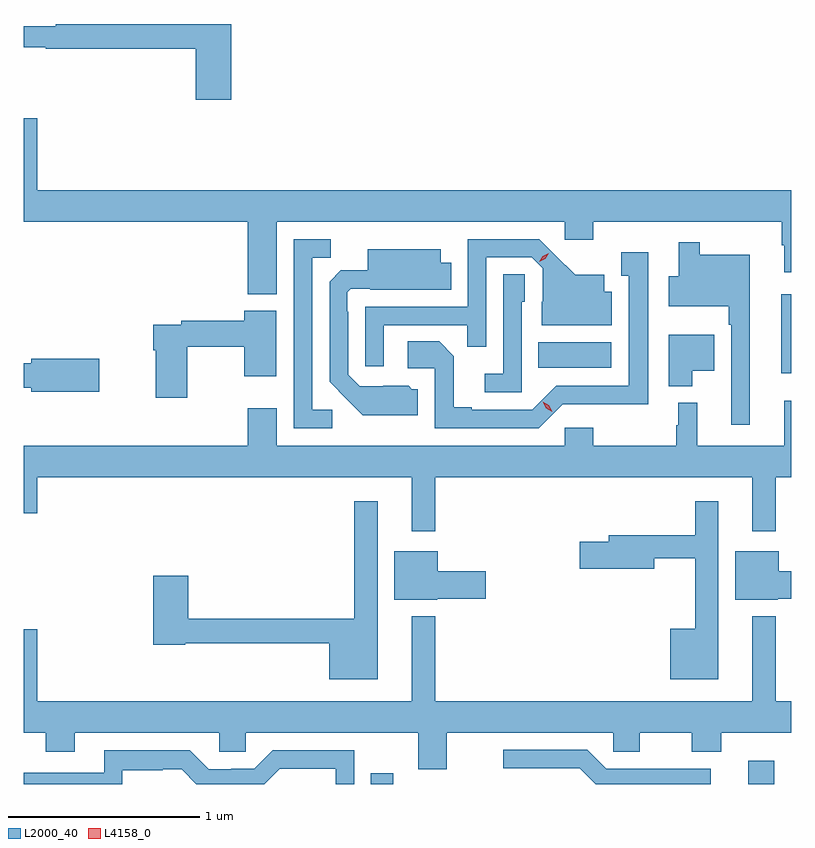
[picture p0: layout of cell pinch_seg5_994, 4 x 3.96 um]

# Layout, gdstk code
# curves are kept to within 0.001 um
import gdstk
lib = gdstk.Library(unit=1e-6, precision=1e-09)
def R(c, l, rs):  # rectangles x0, y0, x1, y1
    for r in rs: c.add(gdstk.rectangle(r[:2], r[2:], *l))
def P(c, l, *ps):  # polygons
    for p in ps: c.add(gdstk.Polygon(p, *l))
L2000_40 = (2000, 40)
L4158_0 = (4158, 0)

pinch_seg5_994 = lib.new_cell('pinch_seg5_994')
R(pinch_seg5_994, L2000_40, [(694.381,836.513,694.5,836.569), (696.35,836.513,696.485,836.635), (696.521,838.655,696.573,839.065), (695.254,838.682,695.635,838.816)])
P(pinch_seg5_994, L2000_40, [(693.653,840.475),(692.74,840.475),(692.74,840.462),(692.573,840.462),(692.573,840.354),(692.686,840.354),(692.686,840.346),(693.47,840.346),(693.47,840.081),(693.653,840.081)],
  [(693.892,839.444),(695.394,839.444),(695.394,839.349),(695.541,839.349),(695.541,839.444),(696.525,839.444),(696.525,839.321),(696.536,839.321),(696.536,839.181),(696.573,839.181),(696.573,839.608),(692.644,839.608),(692.644,839.983),(692.573,839.983),(692.573,839.444),(693.74,839.444),(693.74,839.066),(693.892,839.066)],
  [(694.18,838.464),(694.077,838.464),(694.077,839.257),(694.173,839.257),(694.173,839.352),(693.981,839.352),(693.981,838.368),(694.18,838.368)],
  [(694.449,838.905),(694.885,838.905),(694.885,838.792),(694.983,838.792),(694.983,839.259),(695.22,839.259),(695.277,839.202),(695.277,839.028),(695.273,839.028),(695.273,838.904),(695.638,838.904),(695.638,839.08),(695.599,839.08),(695.599,839.167),(695.447,839.167),(695.26,839.352),(694.887,839.352),(694.887,839.001),(694.353,839.001),(694.353,838.692),(694.449,838.692)],
  [(696.358,839.272),(696.097,839.272),(696.097,839.338),(695.987,839.338),(695.987,839.161),(695.934,839.161),(695.934,839.003),(696.249,839.003),(696.249,838.907),(696.261,838.907),(696.261,838.386),(696.358,838.386)],
  [(694.627,838.572),(694.596,838.572),(694.58,838.588),(694.323,838.587),(694.263,838.647),(694.263,838.976),(694.26,838.976),(694.26,839.076),(694.278,839.094),(694.378,839.094),(694.378,839.09),(694.802,839.09),(694.802,839.23),(694.747,839.23),(694.747,839.302),(694.367,839.302),(694.367,839.191),(694.226,839.191),(694.167,839.132),(694.167,838.61),(694.339,838.436),(694.627,838.436)],
  [(695.382,838.494),(695.827,838.493),(695.827,839.284),(695.687,839.284),(695.687,839.163),(695.726,839.163),(695.726,838.59),(695.349,838.59),(695.223,838.464),(694.909,838.464),(694.909,838.477),(694.815,838.477),(694.815,838.744),(694.739,838.82),(694.575,838.82),(694.575,838.68),(694.716,838.68),(694.716,838.368),(695.256,838.368)],
  [(695.169,839.028),(695.184,839.028),(695.184,839.171),(695.073,839.171),(695.073,838.651),(694.977,838.651),(694.977,838.554),(695.169,838.554)],
  [(693.426,838.792),(693.722,838.792),(693.722,838.638),(693.889,838.638),(693.889,838.981),(693.722,838.981),(693.722,838.928),(693.394,838.928),(693.394,838.908),(693.248,838.908),(693.248,838.775),(693.26,838.775),(693.26,838.527),(693.426,838.527)],
  [(696.058,838.667),(696.172,838.667),(696.172,838.855),(695.936,838.855),(695.936,838.586),(696.058,838.586)],
  [(692.965,838.73),(692.612,838.73),(692.612,838.706),(692.573,838.706),(692.573,838.578),(692.612,838.578),(692.612,838.559),(692.965,838.559)],
  [(694.717,838.112),(696.371,838.112),(696.371,837.831),(696.493,837.831),(696.493,838.112),(696.573,838.112),(696.573,838.51),(696.536,838.51),(696.536,838.276),(696.083,838.276),(696.083,838.501),(695.984,838.501),(695.984,838.383),(695.973,838.383),(695.973,838.276),(695.541,838.276),(695.541,838.369),(695.394,838.369),(695.394,838.276),(693.892,838.276),(693.892,838.471),(693.74,838.471),(693.74,838.276),(692.573,838.276),(692.573,837.924),(692.644,837.924),(692.644,838.112),(694.595,838.112),(694.595,837.831),(694.717,837.831)],
  [(696.193,837.988),(696.072,837.988),(696.072,837.811),(695.621,837.811),(695.621,837.777),(695.472,837.777),(695.472,837.635),(695.86,837.635),(695.86,837.69),(696.072,837.69),(696.072,837.322),(695.942,837.322),(695.942,837.059),(696.193,837.059)],
  [(694.417,837.988),(694.296,837.988),(694.296,837.374),(693.431,837.374),(693.431,837.598),(693.248,837.598),(693.248,837.238),(693.414,837.238),(693.414,837.246),(694.166,837.246),(694.166,837.059),(694.417,837.059)],
  [(694.728,837.479),(694.981,837.479),(694.981,837.621),(694.732,837.621),(694.732,837.727),(694.505,837.727),(694.505,837.473),(694.728,837.473)],
  [(696.504,837.479),(696.573,837.479),(696.573,837.621),(696.508,837.621),(696.508,837.727),(696.281,837.727),(696.281,837.473),(696.504,837.473)],
  [(694.777,836.78),(695.646,836.78),(695.646,836.682),(695.785,836.682),(695.785,836.78),(696.056,836.78),(696.056,836.681),(696.209,836.681),(696.209,836.78),(696.573,836.78),(696.573,836.944),(696.493,836.944),(696.493,837.388),(696.371,837.388),(696.371,836.944),(694.717,836.944),(694.717,837.388),(694.595,837.388),(694.595,836.944),(692.644,836.944),(692.644,837.319),(692.573,837.319),(692.573,836.78),(692.687,836.78),(692.687,836.681),(692.839,836.681),(692.839,836.78),(693.591,836.78),(693.591,836.682),(693.729,836.682),(693.729,836.78),(694.63,836.78),(694.63,836.59),(694.777,836.59)],
  [(696.154,836.592),(695.608,836.592),(695.509,836.691),(695.073,836.691),(695.073,836.595),(695.472,836.595),(695.554,836.513),(696.154,836.513)],
  [(693.087,836.585),(693.296,836.585),(693.296,836.589),(693.396,836.589),(693.472,836.513),(693.827,836.513),(693.906,836.592),(694.2,836.592),(694.2,836.513),(694.296,836.513),(694.296,836.688),(693.87,836.688),(693.774,836.592),(693.654,836.592),(693.654,836.589),(693.537,836.589),(693.437,836.689),(692.993,836.689),(692.993,836.571),(692.573,836.571),(692.573,836.513),(693.087,836.513)])
P(pinch_seg5_994, L4158_0, [(695.327,838.454),(695.296,838.473),(695.278,838.505),(695.278,838.506),(695.278,838.506),(695.31,838.487),(695.327,838.454),(695.327,838.454)],
  [(695.261,839.235),(695.261,839.235),(695.278,839.265),(695.309,839.28),(695.309,839.28),(695.309,839.279),(695.292,839.25),(695.261,839.235)])

lib.write_gds('pinch_seg5_994.gds')
